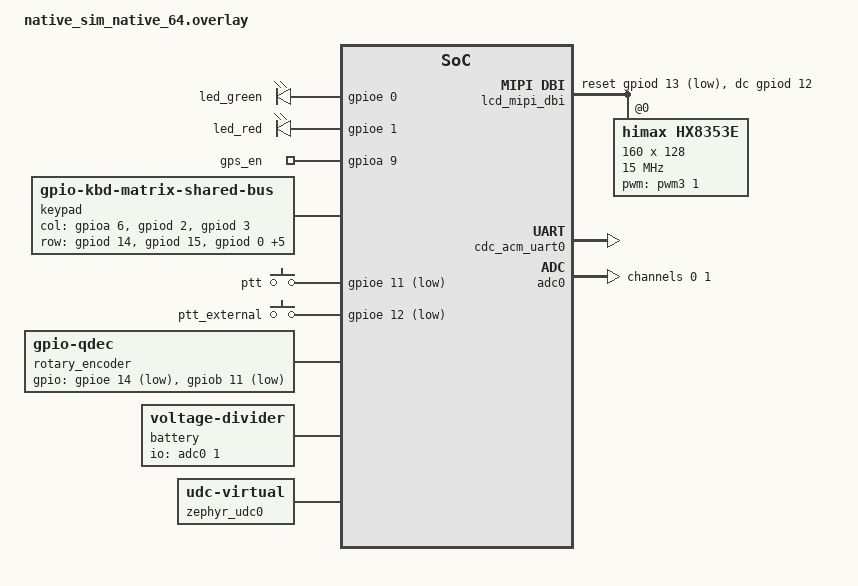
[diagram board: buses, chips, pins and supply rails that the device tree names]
/*
 * Copyright (c) 2026 Andrew Yong <me@ndoo.sg>
 * SPDX-License-Identifier: MIT
 */

#include <zephyr/dt-bindings/adc/adc.h>
#include <zephyr/dt-bindings/gpio/gpio.h>
#include <zephyr/dt-bindings/input/input-event-codes.h>
#include <zephyr/dt-bindings/input/keymap.h>
#include <zephyr/dt-bindings/lvgl/lvgl.h>
#include <zephyr/dt-bindings/pwm/pwm.h>

#ifndef INPUT_KEY_NUMERIC_STAR
#define INPUT_KEY_NUMERIC_STAR  0x20a
#endif
#ifndef INPUT_KEY_NUMERIC_POUND
#define INPUT_KEY_NUMERIC_POUND 0x20b
#endif

#define VOL_AXIS_ADC_MIN 24
#define VOL_AXIS_ADC_MAX 1960

/ {
	chosen {
		zephyr,display = &hx8353e;
	};

	aliases {
		led0 = &led_green;
		led1 = &led_red;
		gps-en = &gps_en;
		watchdog0 = &iwdg;
	};

	gpioa: gpio_port_a {
		compatible = "dmrtastic,sim-gpio";
		gpio-controller;
		#gpio-cells = <2>;
		ngpios = <16>;
		status = "okay";
	};

	gpiob: gpio_port_b {
		compatible = "dmrtastic,sim-gpio";
		gpio-controller;
		#gpio-cells = <2>;
		ngpios = <16>;
		status = "okay";
	};

	gpioc: gpio_port_c {
		compatible = "dmrtastic,sim-gpio";
		gpio-controller;
		#gpio-cells = <2>;
		ngpios = <16>;
		status = "okay";
	};

	gpiod: gpio_port_d {
		compatible = "dmrtastic,sim-gpio";
		gpio-controller;
		#gpio-cells = <2>;
		ngpios = <16>;
		status = "okay";
	};

	gpioe: gpio_port_e {
		compatible = "dmrtastic,sim-gpio";
		gpio-controller;
		#gpio-cells = <2>;
		ngpios = <16>;
		status = "okay";
	};

	board_leds: board_leds {
		compatible = "gpio-leds";
		led_green: led_green {
			gpios = <&gpioe 0 GPIO_ACTIVE_HIGH>;
		};
		led_red: led_red {
			gpios = <&gpioe 1 GPIO_ACTIVE_HIGH>;
		};
		gps_en: gps_en {
			gpios = <&gpioa 9 GPIO_ACTIVE_HIGH>;
		};
	};

	iwdg: iwdg {
		compatible = "dmrtastic,sim-wdt";
	};

	pwm3: pwm {
		compatible = "dmrtastic,sim-pwm";
		#pwm-cells = <3>;
	};

	at1846s: at1846s {
		compatible = "dmrtastic,sim-at1846s";
		volume-taper = "audio-a";
	};

	hr_c6000: hr_c6000 {
		compatible = "dmrtastic,sim-hr-c6000";
	};

	keypad: keypad {
		compatible = "gpio-kbd-matrix-shared-bus";
		col-gpios = <&gpioa 6 GPIO_ACTIVE_HIGH>,
		            <&gpiod 2 GPIO_ACTIVE_HIGH>,
		            <&gpiod 3 GPIO_ACTIVE_HIGH>;
		row-gpios = <&gpiod 14 GPIO_ACTIVE_HIGH>,
		            <&gpiod 15 GPIO_ACTIVE_HIGH>,
		            <&gpiod  0 GPIO_ACTIVE_HIGH>,
		            <&gpiod  1 GPIO_ACTIVE_HIGH>,
		            <&gpioe  7 GPIO_ACTIVE_HIGH>,
		            <&gpioe  8 GPIO_ACTIVE_HIGH>,
		            <&gpioe  9 GPIO_ACTIVE_HIGH>,
		            <&gpioe 10 GPIO_ACTIVE_HIGH>;

		keymap {
			compatible = "input-keymap";
			row-size = <8>;
			col-size = <3>;
			keymap = <
				MATRIX_KEY(0, 0, INPUT_KEY_1)
				MATRIX_KEY(1, 0, INPUT_KEY_2)
				MATRIX_KEY(2, 0, INPUT_KEY_3)
				MATRIX_KEY(3, 0, INPUT_KEY_4)
				MATRIX_KEY(4, 0, INPUT_KEY_5)
				MATRIX_KEY(5, 0, INPUT_KEY_6)
				MATRIX_KEY(6, 0, INPUT_KEY_0)
				MATRIX_KEY(7, 0, INPUT_KEY_NUMERIC_STAR)

				MATRIX_KEY(0, 1, INPUT_KEY_ENTER)
				MATRIX_KEY(1, 1, INPUT_KEY_UP)
				MATRIX_KEY(2, 1, INPUT_KEY_DOWN)
				MATRIX_KEY(3, 1, INPUT_KEY_7)
				MATRIX_KEY(4, 1, INPUT_KEY_8)
				MATRIX_KEY(5, 1, INPUT_KEY_9)
				MATRIX_KEY(6, 1, INPUT_KEY_NUMERIC_POUND)
				MATRIX_KEY(7, 1, INPUT_KEY_BACK)

				MATRIX_KEY(6, 2, INPUT_KEY_F16)
				MATRIX_KEY(7, 2, INPUT_KEY_F15)
			>;
		};
	};

	ptt_buttons: ptt_buttons {
		compatible = "gpio-keys";
		polling-mode;
		ptt: ptt {
			gpios = <&gpioe 11 (GPIO_ACTIVE_LOW | GPIO_PULL_UP)>;
			zephyr,code = <INPUT_KEY_F13>;
		};
		ptt_external: ptt_external {
			gpios = <&gpioe 12 (GPIO_ACTIVE_LOW | GPIO_PULL_UP)>;
			zephyr,code = <INPUT_KEY_F14>;
		};
	};

	rotary_encoder: rotary_encoder {
		compatible = "gpio-qdec";
		gpios = <&gpioe 14 (GPIO_ACTIVE_LOW | GPIO_PULL_UP)>,
		        <&gpiob 11 (GPIO_ACTIVE_LOW | GPIO_PULL_UP)>;
		steps-per-period = <2>;
		sample-time-us = <250>;
		idle-timeout-ms = <200>;
		zephyr,axis = <INPUT_REL_Y>;
	};

	lvgl_keypad: lvgl-keypad-input {
		compatible = "zephyr,lvgl-keypad-input";
		input-codes = <INPUT_KEY_UP INPUT_KEY_DOWN INPUT_KEY_ENTER>;
		lvgl-codes = <LV_KEY_PREV LV_KEY_NEXT LV_KEY_ENTER>;
	};

	vol_axis: vol_axis {
		compatible = "analog-axis";
		poll-period-ms = <50>;
		vol_axis_ch: axis-volume {
			io-channels = <&adc0 0>;
			in-min  = <VOL_AXIS_ADC_MIN>;
			in-max  = <VOL_AXIS_ADC_MAX>;
			out-min = <VOL_AXIS_ADC_MIN>;
			out-max = <VOL_AXIS_ADC_MAX>;
			zephyr,axis = <INPUT_ABS_THROTTLE>;
		};
	};

	battery: battery {
		compatible = "voltage-divider";
		io-channels = <&adc0 1>;
		output-ohms = <10000>;
		full-ohms   = <(23100 + 10000)>;
	};

	lcd_mipi_dbi: lcd_mipi_dbi {
		compatible = "zephyr,mipi-dbi-bitbang";
		status = "okay";
		dc-gpios    = <&gpiod 12 GPIO_ACTIVE_HIGH>;
		reset-gpios = <&gpiod 13 GPIO_ACTIVE_LOW>;
		wr-gpios    = <&gpiod  5 GPIO_ACTIVE_HIGH>;
		rd-gpios    = <&gpiod  4 GPIO_ACTIVE_HIGH>;
		cs-gpios    = <&gpiod  6 GPIO_ACTIVE_LOW>;
		data-gpios  = <&gpiod 14 GPIO_ACTIVE_HIGH>,
		              <&gpiod 15 GPIO_ACTIVE_HIGH>,
		              <&gpiod  0 GPIO_ACTIVE_HIGH>,
		              <&gpiod  1 GPIO_ACTIVE_HIGH>,
		              <&gpioe  7 GPIO_ACTIVE_HIGH>,
		              <&gpioe  8 GPIO_ACTIVE_HIGH>,
		              <&gpioe  9 GPIO_ACTIVE_HIGH>,
		              <&gpioe 10 GPIO_ACTIVE_HIGH>;
		#address-cells = <1>;
		#size-cells    = <0>;

		hx8353e: hx8353e@0 {
			compatible = "himax,hx8353e";
			reg = <0>;
			mipi-max-frequency = <15000000>;
			mipi-mode = "MIPI_DBI_MODE_8080_BUS_8_BIT";
			width    = <160>;
			height   = <128>;
			rotation = <90>;
			pwms = <&pwm3 1 PWM_USEC(10000) PWM_POLARITY_NORMAL>;
		};
	};

	w25q_codeplug: w25q_codeplug {
		compatible = "dmrtastic,sim-spi-nor";
		size = <0x1000000>;
		jedec-id = [ef 40 18];
	};

	codeplug_map: codeplug-map {
		compatible = "ht-radio,codeplug-map";
		codeplug-flash = <&w25q_codeplug>;

		device-info        = <0x00000080 0x00000060>;
		general-settings    = <0x000000e0 0x00000028>;
		signalling-dtmf     = <0x00001400 0x00000078>;
		signalling-dtmf-durations = <0x00001472 0x00000005>;
		aprs-configs        = <0x00001588 0x00000200>;
		dtmf-contacts       = <0x00002f88 0x000007e0>;
		channels-bank1      = <0x00003780 0x00001c10>;
		last-used-channel   = <0x00006000 0x0000004a>;
		nv-settings         = <0x0000604b 0x00000100>;
		boot-password       = <0x00007518 0x0000000c>;
		quickkeys           = <0x00007524 0x00000014>;
		boot-lines          = <0x00007540 0x00000020>;
		vfo-channels        = <0x00007590 0x00000070>;
		zones-ext           = <0x00008000 0x00002ef0>;
		calibration         = <0x00010000 0x00000200>;
		custom-data         = <0x00020000 0x00010000>;
		channels-ext        = <0x0009b1b0 0x0000c470>;
		contacts            = <0x000a7620 0x00006000>;
		rx-group-lists      = <0x000ad620 0x00001840>;
	};

	usart1: gps_uart {
		compatible = "zephyr,uart-emul";
		current-speed = <9600>;
		status = "okay";
	};
};

&sdl_dc {
	status = "disabled";
};

&input_sdl_touch {
	status = "disabled";
};

&adc0 {
	ref-internal-mv = <3300>;
	#address-cells = <1>;
	#size-cells = <0>;

	channel@0 {
		reg = <0>;
		zephyr,gain = "ADC_GAIN_1";
		zephyr,reference = "ADC_REF_INTERNAL";
		zephyr,acquisition-time = <ADC_ACQ_TIME_DEFAULT>;
		zephyr,resolution = <12>;
	};

	channel@1 {
		reg = <1>;
		zephyr,gain = "ADC_GAIN_1";
		zephyr,reference = "ADC_REF_INTERNAL";
		zephyr,acquisition-time = <ADC_ACQ_TIME_DEFAULT>;
		zephyr,resolution = <12>;
	};
};

/delete-node/ &zephyr_udc0;

/ {
	zephyr_udc0: udc_vrt0 {
		compatible = "zephyr,udc-virtual";
		num-bidir-endpoints = <8>;
		maximum-speed = "full-speed";

		cdc_acm_uart0: cdc_acm_uart0 {
			compatible = "zephyr,cdc-acm-uart";
		};
	};
};
